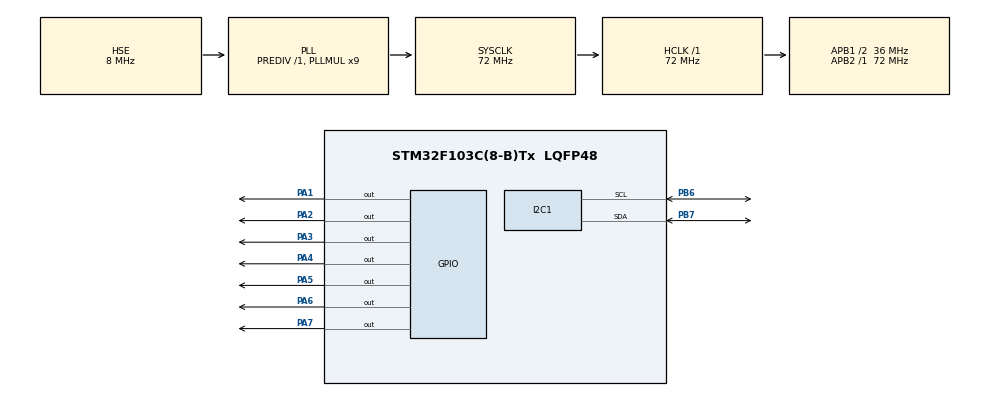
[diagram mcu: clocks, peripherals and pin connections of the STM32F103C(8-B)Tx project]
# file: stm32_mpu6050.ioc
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Mcu.Family=STM32F1
Mcu.Name=STM32F103C(8-B)Tx
Mcu.Package=LQFP48
NVIC.PriorityGroup=NVIC_PRIORITYGROUP_4
NVIC.TIM1_CC_IRQn=true\:0\:0\:false\:false\:true\:true\:true\:true
PA1.Signal=GPIO_Output
PA13.Mode=Serial_Wire
PA13.Signal=SYS_JTMS-SWDIO
PA14.Mode=Serial_Wire
PA14.Signal=SYS_JTCK-SWCLK
PA2.Signal=GPIO_Output
PA3.Signal=GPIO_Output
PA4.Signal=GPIO_Output
PA5.Signal=GPIO_Output
PA6.Signal=GPIO_Output
PA7.Signal=GPIO_Output
PB6.Mode=I2C
PB6.Signal=I2C1_SCL
PB7.Mode=I2C
PB7.Signal=I2C1_SDA
PD0-OSC_IN.Mode=HSE-External-Oscillator
PD0-OSC_IN.Signal=RCC_OSC_IN
PD1-OSC_OUT.Mode=HSE-External-Oscillator
PD1-OSC_OUT.Signal=RCC_OSC_OUT
ProjectManager.HeapSize=0x200
ProjectManager.StackSize=0x400
ProjectManager.TargetToolchain=MDK-ARM V5.32
RCC.AHBFreq_Value=72000000
RCC.APB1CLKDivider=RCC_HCLK_DIV2
RCC.APB1Freq_Value=36000000
RCC.APB1TimFreq_Value=72000000
RCC.APB2Freq_Value=72000000
RCC.APB2TimFreq_Value=72000000
RCC.HCLKFreq_Value=72000000
RCC.PLLMUL=RCC_PLL_MUL9
RCC.PLLSourceVirtual=RCC_PLLSOURCE_HSE
RCC.SYSCLKFreq_VALUE=72000000
RCC.SYSCLKSource=RCC_SYSCLKSOURCE_PLLCLK
RCC.USBFreq_Value=72000000
TIM1.Period=999
TIM1.Prescaler=71
VP_TIM1_VS_ClockSourceINT.Mode=Internal
board=custom

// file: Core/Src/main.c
/* USER CODE BEGIN Header */
/**
  ******************************************************************************
  * @file           : main.c
  * @brief          : Main program body
  ******************************************************************************
  * @attention
  *
  * Copyright (c) 2023 STMicroelectronics.
  * All rights reserved.
  *
  * This software is licensed under terms that can be found in the LICENSE file
  * in the root directory of this software component.
  * If no LICENSE file comes with this software, it is provided AS-IS.
  *
  ******************************************************************************
  */
/* USER CODE END Header */
#include "main.h"
#include "i2c.h"
#include "tim.h"
#include "gpio.h"

/* USER CODE BEGIN Includes */
#include "MPU6050.h"
#include "lcd_16x2.h"
#include "string.h"
#include "stdio.h"
 char lcd_buffer[16];
 uint16_t stepCount = 0;
uint8_t isStepDetected = 0;
/* USER CODE END Includes */

void SystemClock_Config(void);

/* USER CODE BEGIN 0 */
MPU6050_Raw Raw;
MPU6050_Data Angle;
/* USER CODE END 0 */

int main(void)
{

  /* MCU Configuration--------------------------------------------------------*/

  /* Reset of all peripherals, Initializes the Flash interface and the Systick. */
  HAL_Init();

  /* Configure the system clock */
  SystemClock_Config();

  /* Initialize all configured peripherals */
  MX_GPIO_Init();
  MX_I2C1_Init();
  MX_TIM1_Init();
  /* USER CODE BEGIN 2 */
	 HAL_TIM_Base_Start(&htim1);
MPU6050_Init();
Lcd_Init();

  int16_t prevAccelZ = 0;
  int16_t threshold = 500;
  /* USER CODE END 2 */

  /* Infinite loop */
  /* USER CODE BEGIN WHILE */
  while (1)
  {

		MPU6050_Read_Data(&Raw);
    HAL_Delay(300);
    MPU6050_Read_Angle(&Angle);

    int16_t deltaAccelZ = Raw.Accel_Z_RAW - prevAccelZ;
     if (deltaAccelZ > threshold)
    {
      if (!isStepDetected)
      {
        stepCount++;
        isStepDetected = 1;
      }
    }
    else
    {
      isStepDetected = 0;
    }

    prevAccelZ = Raw.Accel_Z_RAW;

    Lcd_gotoxy(0, 0);
    sprintf(lcd_buffer, "Steps: %d    ", stepCount);
    Lcd_write_string(lcd_buffer);
    /* USER CODE END WHILE */

  }
}

void SystemClock_Config(void)
{
  RCC_OscInitTypeDef RCC_OscInitStruct = {0};
  RCC_ClkInitTypeDef RCC_ClkInitStruct = {0};

  /** Initializes the RCC Oscillators according to the specified parameters
  * in the RCC_OscInitTypeDef structure.
  */
  RCC_OscInitStruct.OscillatorType = RCC_OSCILLATORTYPE_HSE;
  RCC_OscInitStruct.HSEState = RCC_HSE_ON;
  RCC_OscInitStruct.HSEPredivValue = RCC_HSE_PREDIV_DIV1;
  RCC_OscInitStruct.HSIState = RCC_HSI_ON;
  RCC_OscInitStruct.PLL.PLLState = RCC_PLL_ON;
  RCC_OscInitStruct.PLL.PLLSource = RCC_PLLSOURCE_HSE;
  RCC_OscInitStruct.PLL.PLLMUL = RCC_PLL_MUL9;
  if (HAL_RCC_OscConfig(&RCC_OscInitStruct) != HAL_OK)
  {
    Error_Handler();
  }

  /** Initializes the CPU, AHB and APB buses clocks
  */
  RCC_ClkInitStruct.ClockType = RCC_CLOCKTYPE_HCLK|RCC_CLOCKTYPE_SYSCLK
                              |RCC_CLOCKTYPE_PCLK1|RCC_CLOCKTYPE_PCLK2;
  RCC_ClkInitStruct.SYSCLKSource = RCC_SYSCLKSOURCE_PLLCLK;
  RCC_ClkInitStruct.AHBCLKDivider = RCC_SYSCLK_DIV1;
  RCC_ClkInitStruct.APB1CLKDivider = RCC_HCLK_DIV2;
  RCC_ClkInitStruct.APB2CLKDivider = RCC_HCLK_DIV1;

  if (HAL_RCC_ClockConfig(&RCC_ClkInitStruct, FLASH_LATENCY_2) != HAL_OK)
  {
    Error_Handler();
  }
}

void Error_Handler(void)
{
  __disable_irq();
  while (1)
  {
  }
}
